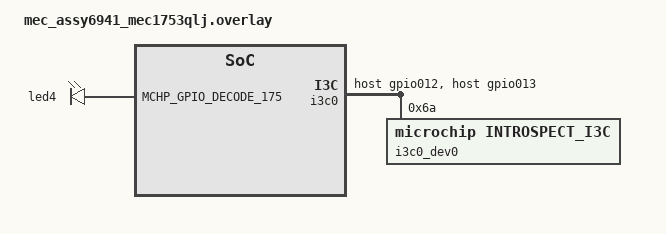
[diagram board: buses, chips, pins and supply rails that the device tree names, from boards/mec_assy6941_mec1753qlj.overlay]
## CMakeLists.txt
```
#-------------------------------------------------------------------------------
# Zephyr external application for MEC1753 I3C
#
# Copyright (c) 2024 Microchip Technology Inc.
# SPDX-License-Identifier: Apache-2.0

cmake_minimum_required(VERSION 3.13.1)
find_package(Zephyr REQUIRED HINTS $ENV{ZEPHYR_BASE})

project(app LANGUAGES C)

target_sources(app PRIVATE src/main.c)
```

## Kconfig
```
# Copyright (c) 2024 Microchip Technology Inc.
# SPDX-License-Identifier: Apache-2.0
#
# This file is the application Kconfig entry point. All application Kconfig
# options can be defined here or included via other application Kconfig files.
# You can browse these options using the west targets menuconfig (terminal) or
# guiconfig (GUI).

menu "Zephyr"
source "Kconfig.zephyr"
endmenu

module = APP
module-str = APP
source "subsys/logging/Kconfig.template.log_config"
```

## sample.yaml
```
# This file is provided so that the application can be compiled using Twister,
# the Zephyr testing tool. In this file, multiple combinations can be specified,
# so that you can easily test all of them locally or in CI.
sample:
  description: Example application I3C using Introspect
  name: example-application-i3c-introspect 
common:
  build_only: true
  depends_on: i3c
  filter: dt_compat_enabled("microchip,introspect")
  integration_platforms:
    - mec_mec6941_mec1753qlj
    - mec_mec6941_mec1753qsz
tests:
  app.default: {}
  app.debug:
    extra_overlay_confs:
      - debug.conf
```

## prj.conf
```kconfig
# Copyright (c) 2024 Microchip Technology Inc.
# SPDX-License-Identifier: Apache-2.0
#
# This file contains selected Kconfig options for the application.

CONFIG_STDOUT_CONSOLE=y
CONFIG_CBPRINTF_FP_SUPPORT=y

CONFIG_I3C=y
CONFIG_I3C_IBI_WORKQUEUE=y
#Enable below for I3C0/I3C1 Host mode
CONFIG_INTROSPECT_I3C=y

#CONFIG_SENSOR=y
#CONFIG_BLINK=y
```

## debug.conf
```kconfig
# Copyright (c) 2024 Microchip Technology Inc.
# SPDX-License-Identifier: Apache-2.0
#
# This is a Kconfig fragment which can be used to enable debug-related options
# in the application.

# compiler
CONFIG_DEBUG_OPTIMIZATIONS=y

# logging
CONFIG_LOG=y
CONFIG_APP_LOG_LEVEL_DBG=y
```

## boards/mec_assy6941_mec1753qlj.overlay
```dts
/*
 * Copyright (c) 2024 Microchip Technology Inc.
 *
 * SPDX-License-Identifier: Apache-2.0
 */

#include <zephyr/dt-bindings/gpio/gpio.h>
#include <zephyr/dt-bindings/gpio/microchip-xec-gpio.h>
#include <microchip/mec5/mec1753qlj-a0-pinctrl.dtsi>
/ {
	chosen {
		zephyr,console = &uart1;
	};

	aliases {
		led0 = &led4;
	};

	leds {
		compatible = "gpio-leds";
		led4: led_0 {
			gpios = <MCHP_GPIO_DECODE_175 GPIO_ACTIVE_HIGH>;
		};
	};
};

&i3c0 {
	status = "okay";

	pinctrl-0 = <&i3c01_sda_host_gpio012 &i3c01_scl_host_gpio013>;
	pinctrl-names = "default";

	i3c0_dev0: dev0@6A0000A0123456789A {
		compatible = "microchip,introspect_i3c";

		reg = < 0x6A 0xA012 0x3456789A >;
                /* Dynamic Address To Be Assigned To The Device */
		assigned-address = <0x5C>;

		status = "okay";
	};

	/*i3c0_dev1: dev1@6B0000B0123456789B {
		compatible = "microchip,introspect";

		reg = < 0x6B 0xB012 0x3456789B >;
		//assigned-address = <0x6B>;

		status = "disabled";
	};

	i3c0_dev2: dev2@000000C0123456789C {
		compatible = "st,lps22hh";

		reg = < 0x00 0xC012 0x3456789C >;
		assigned-address = 0x5A;

		status = "okay";
	};


	lps22hh: lps22hh@690000046A00000000 {
		compatible = "st,lps22hh";
		reg = <0x69 0x046A 0x00000000>;
		assigned-address = 0x5B;

		status = "okay";
	};
	i2c-dev0: i2c-dev0@380000000000000050 {
		compatible = "vendor-i2c-dev";

		reg = < 0x38 0x0 0x50 >;

		status = "okay";
	};*/
};

&i3c1 {
	status = "disabled";

	pinctrl-0 = <&i3c00_sda_target_gpio132 &i3c00_scl_target_gpio140>;
	pinctrl-names = "default";
	i3c1-as-tgt-pid = < 0xB012 0x3456789B >;
	/* false if absent */
	/*i3c1-as-tgt-pid-random;*/
	i3c1-as-tgt-static-addr= < 0x6B >;
	i3c1-as-tgt-mrl = < 8 >;
	i3c1-as-tgt-mwl = < 8 >;
};
```

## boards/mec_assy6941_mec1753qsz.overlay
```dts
/*
 * Copyright (c) 2024 Microchip Technology Inc.
 *
 * SPDX-License-Identifier: Apache-2.0
 */

#include <zephyr/dt-bindings/gpio/gpio.h>
#include <zephyr/dt-bindings/gpio/microchip-xec-gpio.h>
#include <microchip/mec5/mec1753qsz-a0-pinctrl.dtsi>
/ {
	chosen {
		zephyr,console = &uart1;
	};

	aliases {
		led0 = &led4;
	};

	leds {
		compatible = "gpio-leds";
		led4: led_0 {
			gpios = <MCHP_GPIO_DECODE_175 GPIO_ACTIVE_HIGH>;
		};
	};
};

&i3c0 {
	status = "okay";

	pinctrl-0 = <&i3c01_sda_host_gpio012 &i3c01_scl_host_gpio013>;
	pinctrl-names = "default";

	i3c0_dev0: dev0@6A0000A0123456789A {
		compatible = "microchip,introspect_i3c";

		reg = < 0x6A 0xA012 0x3456789A >;
                /* Dynamic Address To Be Assigned To The Device */
		assigned-address = <0x5C>;

		status = "okay";
	};

	/*i3c0_dev1: dev1@6B0000B0123456789B {
		compatible = "microchip,introspect";

		reg = < 0x6B 0xB012 0x3456789B >;
		//assigned-address = <0x6B>;

		status = "disabled";
	};

	i3c0_dev2: dev2@000000C0123456789C {
		compatible = "st,lps22hh";

		reg = < 0x00 0xC012 0x3456789C >;
		assigned-address = 0x5A;

		status = "okay";
	};


	lps22hh: lps22hh@690000046A00000000 {
		compatible = "st,lps22hh";
		reg = <0x69 0x046A 0x00000000>;
		assigned-address = 0x5B;

		status = "okay";
	};
	i2c-dev0: i2c-dev0@380000000000000050 {
		compatible = "vendor-i2c-dev";

		reg = < 0x38 0x0 0x50 >;

		status = "okay";
	};*/
};

&i3c1 {
	status = "disabled";

	pinctrl-0 = <&i3c00_sda_target_gpio132 &i3c00_scl_target_gpio140>;
	pinctrl-names = "default";
	i3c1-as-tgt-pid = < 0xB012 0x3456789B >;
	/* false if absent */
	/*i3c1-as-tgt-pid-random;*/
	i3c1-as-tgt-static-addr= < 0x6B >;
	i3c1-as-tgt-mrl = < 8 >;
	i3c1-as-tgt-mwl = < 8 >;
};
```

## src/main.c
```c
/*
 * Copyright (c) 2024 Microchip Technology Inc.
 *
 * SPDX-License-Identifier: Apache-2.0
 */

#include <stdio.h>
#include <zephyr/kernel.h>
#include <zephyr/device.h>
#include <zephyr/sys/util.h>

#include <app/drivers/introspect_i3c.h>

#if DT_NODE_EXISTS(DT_NODELABEL(i3c1))
#if DT_NODE_HAS_STATUS(DT_NODELABEL(i3c1), okay)
#if DT_PROP(DT_NODELABEL(i3c1), enable_i3c1_as_host)
#warning "i3c1 boot as Tgt, rqt to Host"
#else
#warning "i3c1 boot as Target"
#define I3C1_AS_TARGET
#endif
#endif
#endif

#if DT_NODE_EXISTS(DT_NODELABEL(i3c0))
#if DT_NODE_HAS_STATUS(DT_NODELABEL(i3c0), okay)
#warning "i3c0 Selected"
#define I3C0
#endif
#endif

#ifdef I3C1_AS_TARGET
#include "zephyr/drivers/i3c.h"
static int tgt0_write_requested_cb(struct i3c_target_config *config);
static int tgt0_write_received_cb(struct i3c_target_config *config, uint8_t val);
static int tgt0_read_requested_cb(struct i3c_target_config *config, uint8_t *val);
static int tgt0_read_processed_cb(struct i3c_target_config *config, uint8_t *val);
static int tgt0_stop_cb(struct i3c_target_config *config);

struct i3c_target_callbacks tgt0_cbs = {
	.write_requested_cb = tgt0_write_requested_cb,
	.write_received_cb = tgt0_write_received_cb,
	.read_requested_cb = tgt0_read_requested_cb,
	.read_processed_cb = tgt0_read_processed_cb,
	.stop_cb = tgt0_stop_cb,
};

struct i3c_target_config tgt0_cfg;
uint8_t tgt_tx_buff[88] = {
	0x1,  0x2,  0x3,  0x4,  0x5,  0x6,  0x7,  0x8,  0x9,  0xa,  0xb,  0xc,  0xd,  0xe,  0xf,
	0x10, 0x11, 0x12, 0x13, 0x14, 0x15, 0x16, 0x17, 0x18, 0x19, 0x1a, 0x1b, 0x1c, 0x1d, 0x1e,
	0x1f, 0x20, 0x21, 0x22, 0x23, 0x24, 0x25, 0x26, 0x27, 0x28, 0x29, 0x2a, 0x2b, 0x2c, 0x2d,
	0x2e, 0x2f, 0x30, 0x31, 0x32, 0x33, 0x34, 0x35, 0x36, 0x37, 0x38, 0x39, 0x3a, 0x3b, 0x3c,
	0x3d, 0x3e, 0x3f, 0x40, 0xa1, 0xa2, 0xa3, 0xa4, 0xa5, 0xa6, 0xa7, 0xa8, 0xb1, 0xb2, 0xb3,
	0xb4, 0xb5, 0xb6, 0xb7, 0xb8, 0xc1, 0xc2, 0xc3, 0xc4, 0xc5, 0xc6, 0xc7, 0xc8};

static int tgt0_write_requested_cb(struct i3c_target_config *config)
{
	printf("[%s]\n", __FUNCTION__);
	return 0;
}

static int tgt0_write_received_cb(struct i3c_target_config *config, uint8_t val)
{
	printf("[%s] Data => 0x%02x\n", __FUNCTION__, val);
	return 0;
}

static int tgt0_read_requested_cb(struct i3c_target_config *config, uint8_t *val)
{
	printf("[%s]\n", __FUNCTION__);
	return 0;
}

static int tgt0_read_processed_cb(struct i3c_target_config *config, uint8_t *val)
{
	printf("[%s]\n", __FUNCTION__);
	return 0;
}

static int tgt0_stop_cb(struct i3c_target_config *config)
{
	printf("[%s]\n", __FUNCTION__);
	return 0;
}
#endif

#if defined(I3C0) || defined(I3C1)
static void transfer_data(const struct device *dev)
{
	uint8_t txData[32];

	for (int i = 0; i < 32; i++) {
		txData[i] = i;
	}

	if (i3c_set_data(dev, &txData[0], 32) < 0) {
		printf("Cannot write\n");
		return;
	}
}

static void receive_data(const struct device *dev)
{
	uint8_t rxData[32];
	if (i3c_get_data(dev, &rxData[0], 32) < 0) {
		printf("Cannot read\n");
		return;
	}
	printf("rxData: ");
	for (uint8_t i = 0; i < 32; i++) {
		printf("%x ", rxData[i]);
	}
}
#endif

void print_buf(uint8_t *buf, uint32_t len)
{
	uint32_t j, k;

	printk("0x00000000: ");
	for (j = 0; j < len; j++) {
		printk("%02x ", buf[j]);
		k = j + 1;

		if ((k < len) && !(k % 16)) {
			printk("\r\n0x%08x: ", k);
		}
	}
	printk("\r\n");
}

#if defined(I3C0) || defined(I3C1)
static int target_ibi_cb(struct i3c_device_desc *target, struct i3c_ibi_payload *payload)
{
	if (payload == NULL) {
		return 1;
	}

	printk("Enter [%s] - RxD %d bytes of payload\n", __FUNCTION__, payload->payload_len);
	if (payload->payload_len) {
		print_buf(&payload->payload[0], payload->payload_len);
	}

	return 0;
}
#endif

int main(void)
{
#ifdef I3C1_AS_TARGET
	const struct device *const dev = DEVICE_DT_GET(DT_NODELABEL(i3c1));

	if (!device_is_ready(dev)) {
		printk("I3C1_AS_TARGET not ready.\n");
		return 0;
	}

	tgt0_cfg.callbacks = &tgt0_cbs;
	int ret = i3c_target_register(dev, &tgt0_cfg);
	ret = i3c_target_tx_write(dev, &tgt_tx_buff[0], 88);
#endif

#ifdef I3C0
	const struct device *const dev_i3c_h = DEVICE_DT_GET(DT_NODELABEL(i3c0_dev0));

	if (!device_is_ready(dev_i3c_h)) {
		printk("sensor: device not ready.\n");
		return 0;
	}

	// i3c_ibi(dev_i3c_h, &target_ibi_cb);
	transfer_data(dev_i3c_h);
	receive_data(dev_i3c_h);

	// i3c_ibi(dev_i3c_h, &target_ibi_cb);

#endif

	k_sleep(K_FOREVER);
	return 0;
}
```
